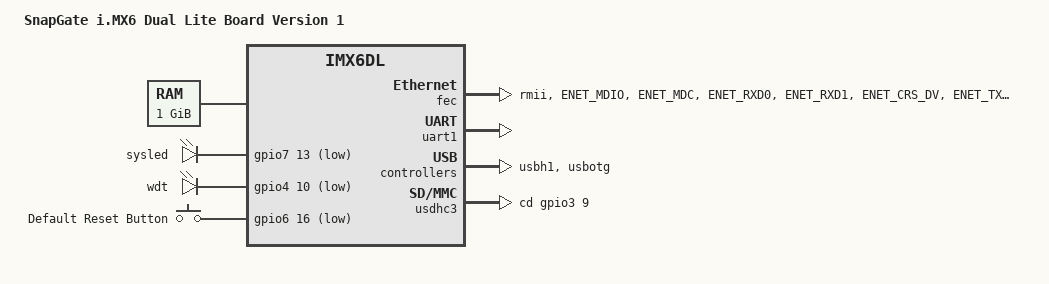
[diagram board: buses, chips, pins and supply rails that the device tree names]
/*
 * Copyright (C) 2013 Freescale Semiconductor, Inc.
 *
 * This program is free software; you can redistribute it and/or modify
 * it under the terms of the GNU General Public License version 2 as
 * published by the Free Software Foundation.
 */

/dts-v1/;
#include "imx6dl.dtsi"

/ {
	model = "SnapGate i.MX6 Dual Lite Board Version 1";
	compatible = "dlrc,imx6dl-snapgate-v1", "fsl,imx6dl";

	memory {
		reg = <0x10000000 0x40000000>;
	};
	
	leds {
		compatible = "gpio-leds";

		sysled-led {
			label = "sysled";
			gpios = <&gpio7 13 1>;
			linux,default-trigger = "heartbeat";
		};

		wdt-led {
			label = "wdt";
			gpios = <&gpio4 10 1>;
			linux,default-trigger = "heartbeat";
		};
	};

	gpio-keys {
		compatible = "gpio-keys";
		def_reset {
			label = "Default Reset Button";
			gpios = <&gpio6 16 1>;
			linux,code = <116>; /* KEY_POWER */
			gpio-key,wakeup;
		};
	};

};

&iomuxc {
	pinctrl-names = "default";
	pinctrl-0 = <&pinctrl_hog_1>;

	hog {
		pinctrl_hog_1: hoggrp-1 {
			fsl,pins = <
				MX6QDL_PAD_EIM_DA9__GPIO3_IO09 		0X80000000 	/* SD3 CD */
				MX6QDL_PAD_GPIO_18__GPIO7_IO13 		0X80000000  	/* SYSLED */
				MX6QDL_PAD_KEY_COL2__GPIO4_IO10 	0X80000000 	/* wdt */
				MX6QDL_PAD_GPIO_7__GPIO1_IO07 		0X80000000 	/* lan8720 reset */
				MX6QDL_PAD_GPIO_4__GPIO1_IO04		0X80000000 	/* default reset gpio key */
			>;
		};
	};

	enet {
		pinctrl_enet_4: enetgrp-4 {
			fsl,pins = <
				MX6QDL_PAD_ENET_MDIO__ENET_MDIO       	0x1b0b0
				MX6QDL_PAD_ENET_MDC__ENET_MDC         	0x1b0b0
				MX6QDL_PAD_ENET_RXD0__ENET_RX_DATA0	0x1b0b0
				MX6QDL_PAD_ENET_RXD1__ENET_RX_DATA1	0x1b0b0
				MX6QDL_PAD_ENET_CRS_DV__ENET_RX_EN	0x1b0b0
				MX6QDL_PAD_ENET_TXD0__ENET_TX_DATA0	0x1b0b0
				MX6QDL_PAD_ENET_TXD1__ENET_TX_DATA1	0x1b0b0
				MX6QDL_PAD_ENET_TX_EN__ENET_TX_EN	0x1b0b0
				MX6QDL_PAD_ENET_RX_ER__ENET_RX_ER	0x1b0b0
				MX6QDL_PAD_GPIO_16__ENET_REF_CLK      	0x4001b0a8
			>;
		};

	};
};

&fec {
	pinctrl-names = "default";
	pinctrl-0 = <&pinctrl_enet_4>;
	phy-mode = "rmii";
	phy-reset-gpios = <&gpio1 7 0>;
	phy-reset-duration = <1>;
	status = "okay";
};

&uart1 {
	status = "okay";
};

&usbh1 {
	status = "okay";
};

&usbotg {
	pinctrl-names = "default";
	pinctrl-0 = <&pinctrl_usbotg_1>;
	status = "okay";
};

&usdhc3 {
	pinctrl-names = "default";
	pinctrl-0 = <&pinctrl_usdhc3_2>;
	cd-gpios = <&gpio3 9 0>;
	status = "okay";
};


